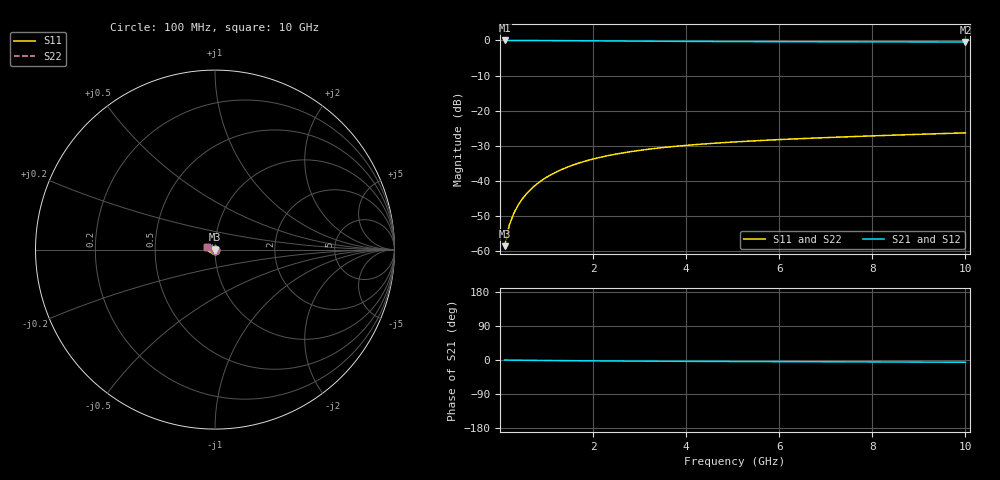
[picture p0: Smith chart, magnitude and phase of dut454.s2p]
! Touchstone file exported from HFSS 2024.1.0
!  File:  C:/UserFiles/LocalFiles/RDL_TSV_Batchsim/temp_TSV1_454_1779696735.aedt
!  Generated:  04:22:12 PM May 25, 2026
!  Design:  TSV1
!  Project:  temp_TSV1_454_1779696735
!  Setup:  Setup1
!  Solution:  Sweep
! Variables:
!  dtsv = 9.09um
!  hbump = 3um
!  htsv = 90.33um
!  lrdl = 252.1521522um
!  p = 40
!  p1 = 56.93um
!  t = 500um
!  trdl = 3um
!  wrdl = 24.89489489um
# GHz S MA R 50.000000
! Terminal data exported
! Port[1] = TSV22_T1
! Port[2] = TSV22_T2
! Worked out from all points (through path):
!   100 points, 100 MHz to 10 GHz, reference 50 ohm
!   highest |S21| = 0.00 dB at 100 MHz (marker M1); lowest = -0.4 dB at 10 GHz (marker M2)
!   lowest |S11| = -58.7 dB at 100 MHz (marker M3), VSWR 1.00, Z = 50 - j0.116 ohm
!   |S11| at or under -10 dB: start of sweep to end of sweep
!   |S22| runs from -58.7 to -26.4 dB; largest |S21 - S12| = 5.1e-15
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0.1  0.001164 -82.8  0.9998 -0.1  0.9998 -0.1  0.001164 -82.8
! Gamma 0 0 0 0
! Port Impedance 50 0 50 0
0.2  0.002308 -89.3  0.9996 -0.3  0.9996 -0.3  0.002308 -89.3
0.3  0.003456 -92.9  0.9994 -0.4  0.9994 -0.4  0.003456 -92.9
0.4  0.0046 -95.7  0.9991 -0.5  0.9991 -0.5  0.0046 -95.7
0.5  0.005735 -98.2  0.9987 -0.7  0.9987 -0.7  0.005735 -98.2
0.6  0.006857 -100.6  0.9983 -0.8  0.9983 -0.8  0.006857 -100.6
0.7  0.007965 -102.9  0.9977 -0.9  0.9977 -0.9  0.007965 -102.9
0.8  0.009056 -105.0  0.9972 -1.1  0.9972 -1.1  0.009056 -105.0
0.9  0.01013 -107.2  0.9965 -1.2  0.9965 -1.2  0.01013 -107.2
1.1  0.01221 -111.3  0.9951 -1.4  0.9951 -1.4  0.01221 -111.3
1.4  0.01515 -117.2  0.9926 -1.7  0.9926 -1.7  0.01515 -117.2
1.6  0.01699 -120.9  0.9908 -1.9  0.9908 -1.9  0.01699 -120.9
1.8  0.01872 -124.5  0.9889 -2.1  0.9889 -2.1  0.01872 -124.5
2.1  0.02113 -129.6  0.9861 -2.4  0.9861 -2.4  0.02113 -129.6
2.5  0.02398 -135.9  0.9823 -2.7  0.9823 -2.7  0.02398 -135.9
2.9  0.02648 -141.8  0.9787 -2.9  0.9787 -2.9  0.02648 -141.8
3.4  0.02917 -148.4  0.9746 -3.2  0.9746 -3.2  0.02917 -148.4
4.2  0.03269 -157.8  0.969 -3.6  0.969 -3.6  0.03269 -157.8
5.1  0.03587 -166.8  0.964 -4.0  0.964 -4.0  0.03587 -166.8
6.7  0.04038 -179.9  0.9579 -4.6  0.9579 -4.6  0.04038 -179.9
8.4  0.04447 169.0  0.9536 -5.3  0.9536 -5.3  0.04447 169.0
10  0.04809 160.3  0.9509 -5.9  0.9509 -5.9  0.04809 160.3
